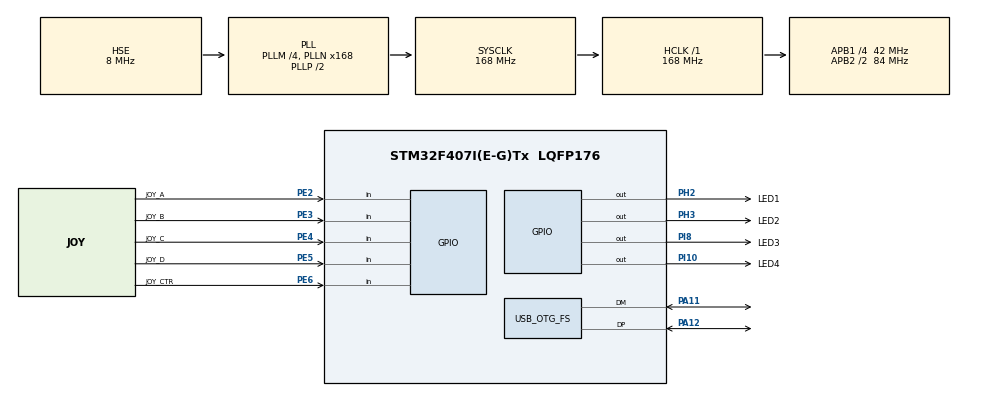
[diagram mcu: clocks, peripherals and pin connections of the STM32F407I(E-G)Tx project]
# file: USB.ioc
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Mcu.Family=STM32F4
Mcu.Name=STM32F407I(E-G)Tx
Mcu.Package=LQFP176
NVIC.OTG_FS_IRQn=true\:0\:0\:false\:false\:true
NVIC.PriorityGroup=NVIC_PRIORITYGROUP_4
PA11.Mode=Device_Only
PA11.Signal=USB_OTG_FS_DM
PA12.GPIO_PuPd=GPIO_PULLUP
PA12.Mode=Device_Only
PA12.Signal=USB_OTG_FS_DP
PE2.GPIO_Label=JOY_A
PE2.GPIO_PuPd=GPIO_PULLUP
PE2.Signal=GPIO_Input
PE3.GPIO_Label=JOY_B
PE3.GPIO_PuPd=GPIO_PULLUP
PE3.Signal=GPIO_Input
PE4.GPIO_Label=JOY_C
PE4.GPIO_PuPd=GPIO_PULLUP
PE4.Signal=GPIO_Input
PE5.GPIO_Label=JOY_D
PE5.GPIO_PuPd=GPIO_PULLUP
PE5.Signal=GPIO_Input
PE6.GPIO_Label=JOY_CTR
PE6.GPIO_PuPd=GPIO_PULLUP
PE6.Signal=GPIO_Input
PH0-OSC_IN.Mode=HSE-External-Oscillator
PH0-OSC_IN.Signal=RCC_OSC_IN
PH1-OSC_OUT.Mode=HSE-External-Oscillator
PH1-OSC_OUT.Signal=RCC_OSC_OUT
PH2.GPIO_Label=LED1
PH2.GPIO_PuPd=GPIO_PULLDOWN
PH2.Signal=GPIO_Output
PH3.GPIO_Label=LED2
PH3.GPIO_PuPd=GPIO_PULLDOWN
PH3.Signal=GPIO_Output
PI10.GPIO_Label=LED4
PI10.GPIO_PuPd=GPIO_PULLDOWN
PI10.Signal=GPIO_Output
PI8-\ ANTI\ TAMP2.GPIO_Label=LED3
PI8-\ ANTI\ TAMP2.GPIO_PuPd=GPIO_PULLDOWN
PI8-\ ANTI\ TAMP2.Signal=GPIO_Output
ProjectManager.HeapSize=0x1000
ProjectManager.StackSize=0x2000
ProjectManager.TargetToolchain=MDK-ARM V5
RCC.48MHZClocksFreq_Value=48000000
RCC.AHBFreq_Value=168000000
RCC.APB1CLKDivider=RCC_HCLK_DIV4
RCC.APB1Freq_Value=42000000
RCC.APB1TimFreq_Value=84000000
RCC.APB2CLKDivider=RCC_HCLK_DIV2
RCC.APB2Freq_Value=84000000
RCC.APB2TimFreq_Value=168000000
RCC.CortexFreq_Value=168000000
RCC.HCLKFreq_Value=168000000
RCC.HSE_VALUE=8000000
RCC.HSI_VALUE=16000000
RCC.LSE_VALUE=32768
RCC.PLLM=4
RCC.PLLN=168
RCC.PLLQ=7
RCC.SYSCLKFreq_VALUE=168000000
RCC.SYSCLKSource=RCC_SYSCLKSOURCE_PLLCLK
RCC.VCOOutputFreq_Value=336000000
USB_DEVICE.CLASS_NAME_FS=HID
USB_DEVICE.USBD_MAX_STR_DESC_SIZ-HID_FS=48
USB_DEVICE.VirtualModeFS=Hid_FS
USB_OTG_FS.VirtualMode=Device_Only
USB_OTG_FS.vbus_sensing_enable=ENABLE
VP_USB_DEVICE_VS_USB_DEVICE_HID_FS.Mode=HID_FS
board=USB

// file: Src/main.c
/**
  ******************************************************************************
  * File Name          : main.c
  * Description        : Main program body
  ******************************************************************************
  *
  * Copyright (c) 2017 STMicroelectronics International N.V.
  * All rights reserved.
  *
  * Redistribution and use in source and binary forms, with or without
  * modification, are permitted, provided that the following conditions are met:
  *
  * 1. Redistribution of source code must retain the above copyright notice,
  *    this list of conditions and the following disclaimer.
  * 2. Redistributions in binary form must reproduce the above copyright notice,
  *    this list of conditions and the following disclaimer in the documentation
  *    and/or other materials provided with the distribution.
  * 3. Neither the name of STMicroelectronics nor the names of other
  *    contributors to this software may be used to endorse or promote products
  *    derived from this software without specific written permission.
  * 4. This software, including modifications and/or derivative works of this
  *    software, must execute solely and exclusively on microcontroller or
  *    microprocessor devices manufactured by or for STMicroelectronics.
  * 5. Redistribution and use of this software other than as permitted under
  *    this license is void and will automatically terminate your rights under
  *    this license.
  *
  * THIS SOFTWARE IS PROVIDED BY STMICROELECTRONICS AND CONTRIBUTORS "AS IS"
  * AND ANY EXPRESS, IMPLIED OR STATUTORY WARRANTIES, INCLUDING, BUT NOT
  * LIMITED TO, THE IMPLIED WARRANTIES OF MERCHANTABILITY, FITNESS FOR A
  * PARTICULAR PURPOSE AND NON-INFRINGEMENT OF THIRD PARTY INTELLECTUAL PROPERTY
  * RIGHTS ARE DISCLAIMED TO THE FULLEST EXTENT PERMITTED BY LAW. IN NO EVENT
  * SHALL STMICROELECTRONICS OR CONTRIBUTORS BE LIABLE FOR ANY DIRECT, INDIRECT,
  * INCIDENTAL, SPECIAL, EXEMPLARY, OR CONSEQUENTIAL DAMAGES (INCLUDING, BUT NOT
  * LIMITED TO, PROCUREMENT OF SUBSTITUTE GOODS OR SERVICES; LOSS OF USE, DATA,
  * OR PROFITS; OR BUSINESS INTERRUPTION) HOWEVER CAUSED AND ON ANY THEORY OF
  * LIABILITY, WHETHER IN CONTRACT, STRICT LIABILITY, OR TORT (INCLUDING
  * NEGLIGENCE OR OTHERWISE) ARISING IN ANY WAY OUT OF THE USE OF THIS SOFTWARE,
  * EVEN IF ADVISED OF THE POSSIBILITY OF SUCH DAMAGE.
  *
  ******************************************************************************
  */
#include "main.h"
#include "stm32f4xx_hal.h"
#include "usb_device.h"
#include "gpio.h"

/* USER CODE BEGIN Includes */
#include "usbd_hid.h"
/* USER CODE END Includes */

/* USER CODE BEGIN PV */
/* Private variables ---------------------------------------------------------*/
#define CURSOR_STEP     5

uint8_t HID_Buffer[4];
/* USER CODE END PV */

void SystemClock_Config(void);
void Error_Handler(void);

/* USER CODE BEGIN PFP */
/* Private function prototypes -----------------------------------------------*/

/* USER CODE END PFP */

int main(void)
{

  /* MCU Configuration----------------------------------------------------------*/

  /* Reset of all peripherals, Initializes the Flash interface and the Systick. */
  HAL_Init();

  /* Configure the system clock */
  SystemClock_Config();

  /* Initialize all configured peripherals */
  MX_GPIO_Init();
  MX_USB_DEVICE_Init();

  /* Infinite loop */
  while (1)
  {

  }

}

/** System Clock Configuration
*/
void SystemClock_Config(void)
{

  RCC_OscInitTypeDef RCC_OscInitStruct;
  RCC_ClkInitTypeDef RCC_ClkInitStruct;

    /**Configure the main internal regulator output voltage
    */
  __HAL_RCC_PWR_CLK_ENABLE();

  __HAL_PWR_VOLTAGESCALING_CONFIG(PWR_REGULATOR_VOLTAGE_SCALE1);

    /**Initializes the CPU, AHB and APB busses clocks
    */
  RCC_OscInitStruct.OscillatorType = RCC_OSCILLATORTYPE_HSE;
  RCC_OscInitStruct.HSEState = RCC_HSE_ON;
  RCC_OscInitStruct.PLL.PLLState = RCC_PLL_ON;
  RCC_OscInitStruct.PLL.PLLSource = RCC_PLLSOURCE_HSE;
  RCC_OscInitStruct.PLL.PLLM = 4;
  RCC_OscInitStruct.PLL.PLLN = 168;
  RCC_OscInitStruct.PLL.PLLP = RCC_PLLP_DIV2;
  RCC_OscInitStruct.PLL.PLLQ = 7;
  if (HAL_RCC_OscConfig(&RCC_OscInitStruct) != HAL_OK)
  {
    Error_Handler();
  }

    /**Initializes the CPU, AHB and APB busses clocks
    */
  RCC_ClkInitStruct.ClockType = RCC_CLOCKTYPE_HCLK|RCC_CLOCKTYPE_SYSCLK
                              |RCC_CLOCKTYPE_PCLK1|RCC_CLOCKTYPE_PCLK2;
  RCC_ClkInitStruct.SYSCLKSource = RCC_SYSCLKSOURCE_PLLCLK;
  RCC_ClkInitStruct.AHBCLKDivider = RCC_SYSCLK_DIV1;
  RCC_ClkInitStruct.APB1CLKDivider = RCC_HCLK_DIV4;
  RCC_ClkInitStruct.APB2CLKDivider = RCC_HCLK_DIV2;

  if (HAL_RCC_ClockConfig(&RCC_ClkInitStruct, FLASH_LATENCY_5) != HAL_OK)
  {
    Error_Handler();
  }

    /**Configure the Systick interrupt time
    */
  HAL_SYSTICK_Config(HAL_RCC_GetHCLKFreq()/1000);

    /**Configure the Systick
    */
  HAL_SYSTICK_CLKSourceConfig(SYSTICK_CLKSOURCE_HCLK);

  /* SysTick_IRQn interrupt configuration */
  HAL_NVIC_SetPriority(SysTick_IRQn, 0, 0);
}

/* USER CODE BEGIN 4 */
/**
  * @brief  Gets Pointer Data.
  * @param  pbuf: Pointer to report
  * @retval None
  */
static void GetPointerData(uint8_t *pbuf)
{
  int8_t  x = 0, y = 0 ;
  switch(BSP_JOY_GetState())
  {
    case JOY_LEFT:
      x -= CURSOR_STEP;
      break;

    case JOY_RIGHT:
      x += CURSOR_STEP;
      break;

    case JOY_UP:
      y -= CURSOR_STEP;
      break;

    case JOY_DOWN:
      y += CURSOR_STEP;
      break;

    default:
      break;
  }
  pbuf[0] = 0;
  pbuf[1] = x;
  pbuf[2] = y;
  pbuf[3] = 0;
}

/**
  * @brief  SYSTICK callback.
  * @retval None
  */
void HAL_SYSTICK_Callback(void)
{
  /* NOTE : This function Should not be modified, when the callback is needed,
            the HAL_SYSTICK_Callback could be implemented in the user file
   */
  static __IO uint32_t counter=0;
  /* check Joystick state every polling interval (10ms) */
  if (counter++ == USBD_HID_GetPollingInterval(&hUsbDeviceFS))
  {
    GetPointerData(HID_Buffer);

    /* send data though IN endpoint*/
    if((HID_Buffer[1] != 0) || (HID_Buffer[2] != 0))
    {
      USBD_HID_SendReport(&hUsbDeviceFS, HID_Buffer, 4);
    }
    counter = 0;
  }
}
/* USER CODE END 4 */

void Error_Handler(void)
{
  while(1)
  {
  }
}

/************************ (C) COPYRIGHT STMicroelectronics *****END OF FILE****/
